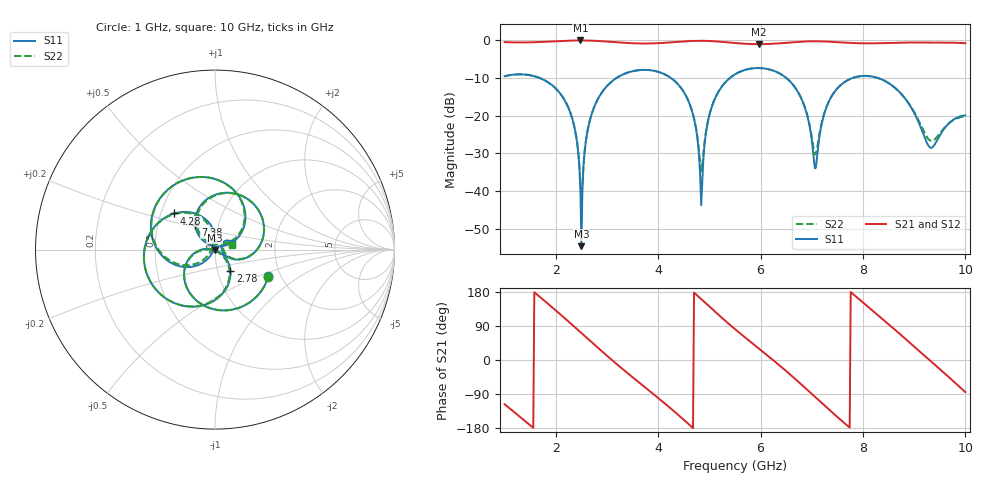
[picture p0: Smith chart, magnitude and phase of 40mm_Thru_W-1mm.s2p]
! Touchstone file exported from HFSS 2018.2.0
!  File:  C:/Users/10024/OneDrive - The University of Nottingham Ningbo China/Year 4/Final Year Project/HFSS project/Passive_Resonator_Antenna.aedt
!  Generated:  4:18:30 下午  3月 11, 2022
!  Design:  SMA_Thru
!  Project:  Passive_Resonator_Antenna
!  Setup:  Setup1
!  Solution:  Sweep
! Variables:
!  MW = 1mm
!  ThruL = 40mm
!  g = 0.2mm
!  subH = 0.8mm
!  subX = 20mm
!  subY = 50mm
!  tapW = 1.992mm
# GHZ S MA R 50.000000
! Modal data exported
! Port[1] = SMA_CONNECTOR1_1:1
! Port[2] = SMA_CONNECTOR2_1:1
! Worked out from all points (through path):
!   451 points, 1 GHz to 10 GHz, reference 50 ohm
!   highest |S21| = -0.09 dB at 2.48 GHz (marker M1); lowest = -1.1 dB at 5.96 GHz (marker M2)
!   group delay of S21, straight-line fit = 323 ps
!   lowest |S11| = -54.6 dB at 2.5 GHz (marker M3), VSWR 1.00, Z = 49.9 - j0.168 ohm
!   |S11| at or under -10 dB: 1.676 GHz to 3.191 GHz (1.515 GHz wide, 62.3 % of centre); 6.498 GHz to 7.806 GHz (1.308 GHz wide, 18.3 % of centre); 8.281 GHz to end of sweep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
!   |S22| runs from -43.5 to -7.4 dB; largest |S21 - S12| = 2e-12
!   S11 on the Smith chart (normalised r, x): 1 GHz: 1.72, -0.58; 2.78 GHz: 1.15, -0.28; 4.28 GHz: 0.59, +0.26; 7.38 GHz: 0.77, +0.22; 10 GHz: 1.20, +0.09
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1  0.3318 -26.8  0.94 -116.8  0.94 -116.8  0.3318 -27.0
! Gamma ! 0.0151858380091847 30.3716836111546 0.0151858380090984 30.3716836111689
! Port Impedance50 0 50 0
1.58  0.332 -91.3  0.9372 178.7  0.9372 178.7  0.332 -91.4
2.12  0.1821 -153.0  0.9746 116.7  0.9746 116.7  0.1821 -152.3
2.36  0.07197 179.2  0.9873 88.0  0.9873 88.0  0.07219 -177.6
2.48  0.01078 173.1  0.9892 73.5  0.9892 73.5  0.01249 -165.0
2.5  0.001857 -115.0  0.9891 71.1  0.9891 71.1  0.006689 -110.8
2.78  0.145 -53.8  0.9772 37.2  0.9772 37.2  0.1452 -56.1
3.28  0.3423 -111.6  0.9261 -21.1  0.9261 -21.1  0.3424 -112.4
4  0.3796 169.6  0.9102 -100.3  0.9102 -100.3  0.3796 170.0
4.28  0.3034 138.5  0.9362 -131.9  0.9362 -131.9  0.3035 139.7
4.66  0.1149 95.4  0.9736 -177.2  0.9736 -177.2  0.1159 100.8
4.84  0.006474 147.5  0.979 160.6  0.979 160.6  0.01856 156.0
5.06  0.1386 -139.4  0.9685 133.5  0.9685 133.5  0.1398 -144.5
5.5  0.3516 170.7  0.9148 81.5  0.9148 81.5  0.3519 169.1
5.96  0.4262 121.0  0.8833 30.8  0.8833 30.8  0.4262 120.5
6.48  0.3234 65.2  0.9194 -26.9  0.9194 -26.9  0.3237 65.9
7  0.04686 24.6  0.9647 -89.6  0.9647 -89.6  0.05215 35.0
7.38  0.1764 128.8  0.9492 -136.1  0.9492 -136.1  0.1775 125.1
7.9  0.3288 73.7  0.9096 163.3  0.9096 163.3  0.3285 72.3
8.5  0.2693 11.7  0.916 94.6  0.916 94.6  0.2693 11.5
9.26  0.04191 -11.5  0.9286 4.4  0.9286 4.4  0.05058 -10.3
10  0.1006 20.7  0.9076 -84.9  0.9076 -84.9  0.09704 14.3
